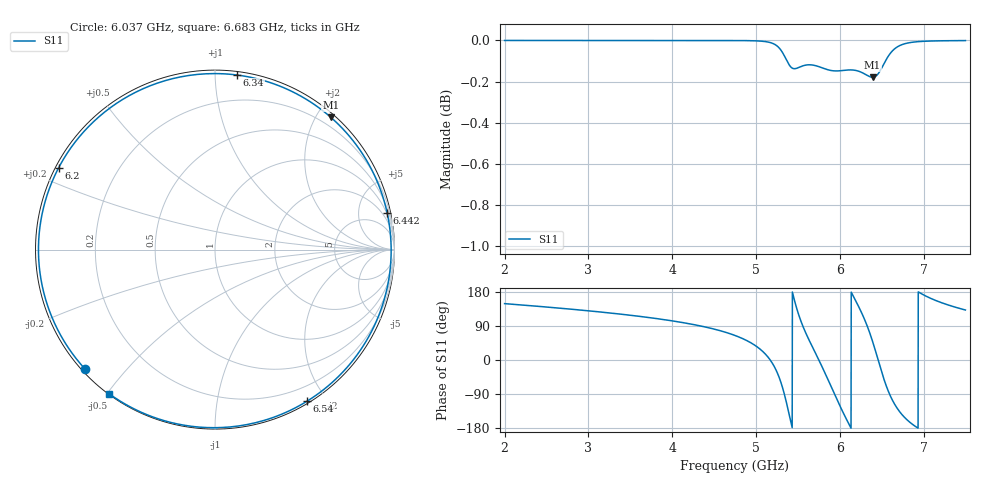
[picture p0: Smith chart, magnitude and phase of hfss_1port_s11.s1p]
! Design10_CPW_BPF_5p5_6p5GHz HFSS Driven unloaded 1-port S11 (2026-11-21_r2)
! Parent HFSS run: 20261121_162252_hfss_driven_1port_3stage_9d5ee50f (3 passes, 10 um mesh, 451272 tets, Delta S = 0.033366)
# GHz S RI R 50
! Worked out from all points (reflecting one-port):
!   2201 points, 2 GHz to 7.5 GHz, reference 50 ohm
!   lowest |S11| = -0.2 dB at 6.393 GHz (marker M1), VSWR 97.11, Z = 3.02 + j110 ohm
!   phase of S11 starts at 149 deg and turns -1097 deg over the sweep
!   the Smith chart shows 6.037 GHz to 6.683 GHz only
!   S11 on the Smith chart (normalised r, x): 6.037 GHz: 0.01, -0.39; 6.2 GHz: 0.01, +0.25; 6.34 GHz: 0.02, +1.14; 6.442 GHz: 0.87, +9.35; 6.54 GHz: 0.02, -1.78; 6.683 GHz: 0.00, -0.51
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2  -0.855 0.5187
2.6875  -0.7219 0.692
3.375  -0.5189 0.8548
4.0625  -0.1921 0.9814
4.75  0.4268 0.9043
5.03  0.8471 0.5309
5.215  0.9606 -0.271
5.28  0.6707 -0.7359
5.3425  -0.0529 -0.9897
5.3975  -0.8037 -0.5718
5.4375  -0.9833 0.0499
5.4975  -0.6085 0.7742
5.56  0.0109 0.9858
5.655  0.7205 0.6737
5.745  0.9845 0.0458
5.82  0.8312 -0.5273
5.9025  0.2917 -0.939
6.0375  -0.7227 -0.6668
6.125  -0.9808 -0.0751
6.2  -0.8709 0.4564
6.34  0.1238 0.9725
6.3925  0.6454 0.7369
6.4425  0.9589 0.2056
6.54  0.5143 -0.8437
6.6825  -0.5895 -0.8032
6.8125  -0.9364 -0.3468
7.1025  -0.9455 0.3247
7.5  -0.6684 0.7437
